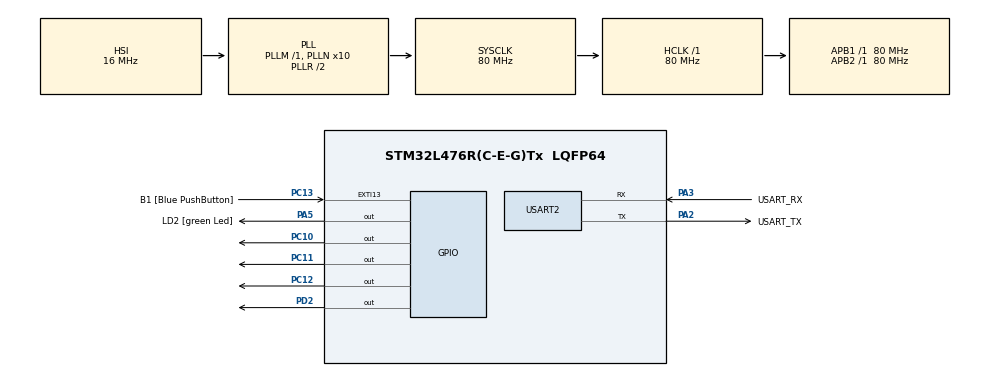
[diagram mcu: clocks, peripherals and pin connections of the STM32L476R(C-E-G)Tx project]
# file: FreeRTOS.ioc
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FREERTOS.Tasks01=defaultTask,8,128,StartDefaultTask,Default,NULL,Dynamic,NULL,NULL;Blink1Task,24,128,Blink1,Default,NULL,Dynamic,NULL,NULL;Blink2Task,30,128,Blink2,Default,NULL,Dynamic,NULL,NULL;TriggTask,40,128,Trigg,Default,NULL,Dynamic,NULL,NULL;UserbuttonTask,40,128,Userbutton,Default,NULL,Dynamic,NULL,NULL
Mcu.Family=STM32L4
Mcu.Name=STM32L476R(C-E-G)Tx
Mcu.Package=LQFP64
NVIC.PriorityGroup=NVIC_PRIORITYGROUP_4
NVIC.TIM1_UP_TIM16_IRQn=true\:0\:0\:false\:false\:true\:false\:false\:true
NVIC.TimeBase=TIM1_UP_TIM16_IRQn
NVIC.TimeBaseIP=TIM1
PA13\ (JTMS-SWDIO).GPIO_Label=TMS
PA13\ (JTMS-SWDIO).Mode=Serial_Wire
PA13\ (JTMS-SWDIO).Signal=SYS_JTMS-SWDIO
PA14\ (JTCK-SWCLK).GPIO_Label=TCK
PA14\ (JTCK-SWCLK).Mode=Serial_Wire
PA14\ (JTCK-SWCLK).Signal=SYS_JTCK-SWCLK
PA2.GPIO_Label=USART_TX
PA2.GPIO_Mode=GPIO_MODE_AF_PP
PA2.GPIO_PuPd=GPIO_NOPULL
PA2.GPIO_Speed=GPIO_SPEED_FREQ_VERY_HIGH
PA2.Mode=Asynchronous
PA2.Signal=USART2_TX
PA3.GPIO_Label=USART_RX
PA3.GPIO_Mode=GPIO_MODE_AF_PP
PA3.GPIO_PuPd=GPIO_NOPULL
PA3.GPIO_Speed=GPIO_SPEED_FREQ_VERY_HIGH
PA3.Mode=Asynchronous
PA3.Signal=USART2_RX
PA5.GPIO_Label=LD2 [green Led]
PA5.GPIO_ModeDefaultOutputPP=GPIO_MODE_OUTPUT_PP
PA5.GPIO_PuPd=GPIO_NOPULL
PA5.GPIO_Speed=GPIO_SPEED_FREQ_LOW
PA5.Signal=GPIO_Output
PB3\ (JTDO-TRACESWO).GPIO_Label=SWO
PB3\ (JTDO-TRACESWO).Signal=SYS_JTDO-SWO
PC10.Signal=GPIO_Output
PC11.Signal=GPIO_Output
PC12.Signal=GPIO_Output
PC13.GPIO_Label=B1 [Blue PushButton]
PC13.GPIO_ModeDefaultEXTI=GPIO_MODE_IT_FALLING
PC13.GPIO_PuPd=GPIO_NOPULL
PC13.Signal=GPXTI13
PC14-OSC32_IN\ (PC14).Mode=LSE-External-Oscillator
PC14-OSC32_IN\ (PC14).Signal=RCC_OSC32_IN
PC15-OSC32_OUT\ (PC15).Mode=LSE-External-Oscillator
PC15-OSC32_OUT\ (PC15).Signal=RCC_OSC32_OUT
PD2.Signal=GPIO_Output
PH0-OSC_IN\ (PH0).Signal=RCC_OSC_IN
PH1-OSC_OUT\ (PH1).Signal=RCC_OSC_OUT
ProjectManager.HeapSize=0x200
ProjectManager.StackSize=0x400
ProjectManager.TargetToolchain=STM32CubeIDE
RCC.ADCFreq_Value=64000000
RCC.AHBFreq_Value=80000000
RCC.APB1Freq_Value=80000000
RCC.APB1TimFreq_Value=80000000
RCC.APB2Freq_Value=80000000
RCC.APB2TimFreq_Value=80000000
RCC.CortexFreq_Value=80000000
RCC.HCLKFreq_Value=80000000
RCC.HSE_VALUE=8000000
RCC.HSI_VALUE=16000000
RCC.MSI_VALUE=4000000
RCC.PLLN=10
RCC.PLLSourceVirtual=RCC_PLLSOURCE_HSI
RCC.PREFETCH_ENABLE=1
RCC.SYSCLKFreq_VALUE=80000000
RCC.SYSCLKSource=RCC_SYSCLKSOURCE_PLLCLK
RCC.USBFreq_Value=64000000
RCC.VCOOutputFreq_Value=160000000
USART2.VirtualMode-Asynchronous=VM_ASYNC
VP_FREERTOS_VS_CMSIS_V2.Mode=CMSIS_V2
VP_SYS_VS_tim1.Mode=TIM1
board=NUCLEO-L476RG

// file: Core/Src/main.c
/* USER CODE BEGIN Header */
/**
  ******************************************************************************
  * @file           : main.c
  * @brief          : Main program body
  ******************************************************************************
  * @attention
  *
  * <h2><center>&copy; Copyright (c) 2019 STMicroelectronics.
  * All rights reserved.</center></h2>
  *
  * This software component is licensed by ST under BSD 3-Clause license,
  * the "License"; You may not use this file except in compliance with the
  * License. You may obtain a copy of the License at:
  *                        opensource.org/licenses/BSD-3-Clause
  *
  ******************************************************************************
  */
/* USER CODE END Header */

#include "main.h"
#include "cmsis_os.h"
#include "usart.h"
#include "gpio.h"

void SystemClock_Config(void);
void MX_FREERTOS_Init(void);

int main(void)
{

  /* MCU Configuration--------------------------------------------------------*/

  /* Reset of all peripherals, Initializes the Flash interface and the Systick. */
  HAL_Init();

  /* Configure the system clock */
  SystemClock_Config();

  /* Initialize all configured peripherals */
  MX_GPIO_Init();
  MX_USART2_UART_Init();

  /* Call init function for freertos objects (in freertos.c) */
  MX_FREERTOS_Init();

  /* Start scheduler */
  osKernelStart();

  /* We should never get here as control is now taken by the scheduler */

  /* Infinite loop */
  while (1)
  {

  }
}

void SystemClock_Config(void)
{
  RCC_OscInitTypeDef RCC_OscInitStruct = {0};
  RCC_ClkInitTypeDef RCC_ClkInitStruct = {0};
  RCC_PeriphCLKInitTypeDef PeriphClkInit = {0};

  /** Initializes the CPU, AHB and APB busses clocks
  */
  RCC_OscInitStruct.OscillatorType = RCC_OSCILLATORTYPE_HSI;
  RCC_OscInitStruct.HSIState = RCC_HSI_ON;
  RCC_OscInitStruct.HSICalibrationValue = RCC_HSICALIBRATION_DEFAULT;
  RCC_OscInitStruct.PLL.PLLState = RCC_PLL_ON;
  RCC_OscInitStruct.PLL.PLLSource = RCC_PLLSOURCE_HSI;
  RCC_OscInitStruct.PLL.PLLM = 1;
  RCC_OscInitStruct.PLL.PLLN = 10;
  RCC_OscInitStruct.PLL.PLLP = RCC_PLLP_DIV7;
  RCC_OscInitStruct.PLL.PLLQ = RCC_PLLQ_DIV2;
  RCC_OscInitStruct.PLL.PLLR = RCC_PLLR_DIV2;
  if (HAL_RCC_OscConfig(&RCC_OscInitStruct) != HAL_OK)
  {
    Error_Handler();
  }
  /** Initializes the CPU, AHB and APB busses clocks
  */
  RCC_ClkInitStruct.ClockType = RCC_CLOCKTYPE_HCLK|RCC_CLOCKTYPE_SYSCLK
                              |RCC_CLOCKTYPE_PCLK1|RCC_CLOCKTYPE_PCLK2;
  RCC_ClkInitStruct.SYSCLKSource = RCC_SYSCLKSOURCE_PLLCLK;
  RCC_ClkInitStruct.AHBCLKDivider = RCC_SYSCLK_DIV1;
  RCC_ClkInitStruct.APB1CLKDivider = RCC_HCLK_DIV1;
  RCC_ClkInitStruct.APB2CLKDivider = RCC_HCLK_DIV1;

  if (HAL_RCC_ClockConfig(&RCC_ClkInitStruct, FLASH_LATENCY_4) != HAL_OK)
  {
    Error_Handler();
  }
  PeriphClkInit.PeriphClockSelection = RCC_PERIPHCLK_USART2;
  PeriphClkInit.Usart2ClockSelection = RCC_USART2CLKSOURCE_PCLK1;
  if (HAL_RCCEx_PeriphCLKConfig(&PeriphClkInit) != HAL_OK)
  {
    Error_Handler();
  }
  /** Configure the main internal regulator output voltage
  */
  if (HAL_PWREx_ControlVoltageScaling(PWR_REGULATOR_VOLTAGE_SCALE1) != HAL_OK)
  {
    Error_Handler();
  }
}

void HAL_TIM_PeriodElapsedCallback(TIM_HandleTypeDef *htim)
{
  if (htim->Instance == TIM1) {
    HAL_IncTick();
  }
}

void Error_Handler(void)
{
}

/************************ (C) COPYRIGHT STMicroelectronics *****END OF FILE****/

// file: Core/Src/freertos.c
/* USER CODE BEGIN Header */
/**
  ******************************************************************************
  * File Name          : freertos.c
  * Description        : Code for freertos applications
  ******************************************************************************
  * @attention
  *
  * <h2><center>&copy; Copyright (c) 2019 STMicroelectronics.
  * All rights reserved.</center></h2>
  *
  * This software component is licensed by ST under Ultimate Liberty license
  * SLA0044, the "License"; You may not use this file except in compliance with
  * the License. You may obtain a copy of the License at:
  *                             www.st.com/SLA0044
  *
  ******************************************************************************
  */
/* USER CODE END Header */

#include "FreeRTOS.h"
#include "task.h"
#include "main.h"
#include "cmsis_os.h"
#include "semphr.h"

osThreadId_t defaultTaskHandle;
osThreadId_t Blink1TaskHandle;
osThreadId_t Blink2TaskHandle;
osThreadId_t TriggTaskHandle;
osThreadId_t UserbuttonTaskHandle;

SemaphoreHandle_t xSemaphore = NULL;

void StartDefaultTask(void *argument);
void Blink1(void *argument);
void Blink2(void *argument);
void Trigg(void *argument);
void Userbutton(void *argument);

void MX_FREERTOS_Init(void); /* (MISRA C 2004 rule 8.1) */

void MX_FREERTOS_Init(void) {
osKernelInitialize();

  /* USER CODE BEGIN RTOS_MUTEX */
  /* add mutexes, ... */
  xSemaphore = xSemaphoreCreateMutex();

  /* USER CODE END RTOS_MUTEX */

  /* Create the thread(s) */
  /* definition and creation of defaultTask */
  const osThreadAttr_t defaultTask_attributes = {
    .name = "defaultTask",
    .priority = (osPriority_t) osPriorityLow,
    .stack_size = 128
  };
  defaultTaskHandle = osThreadNew(StartDefaultTask, NULL, &defaultTask_attributes);

  /* definition and creation of Blink1Task */
  const osThreadAttr_t Blink1Task_attributes = {
    .name = "Blink1Task",
    .priority = (osPriority_t) osPriorityNormal,
    .stack_size = 128
  };
  Blink1TaskHandle = osThreadNew(Blink1, NULL, &Blink1Task_attributes);

  /* definition and creation of Blink2Task */
  const osThreadAttr_t Blink2Task_attributes = {
    .name = "Blink2Task",
    .priority = (osPriority_t) osPriorityNormal6,
    .stack_size = 128
  };
  Blink2TaskHandle = osThreadNew(Blink2, NULL, &Blink2Task_attributes);

  /* definition and creation of TriggTask */
  const osThreadAttr_t TriggTask_attributes = {
    .name = "TriggTask",
    .priority = (osPriority_t) osPriorityHigh,
    .stack_size = 128
  };
  TriggTaskHandle = osThreadNew(Trigg, NULL, &TriggTask_attributes);

  /* definition and creation of UserbuttonTask */
  const osThreadAttr_t UserbuttonTask_attributes = {
    .name = "UserbuttonTask",
    .priority = (osPriority_t) osPriorityHigh,
    .stack_size = 128
  };
  UserbuttonTaskHandle = osThreadNew(Userbutton, NULL, &UserbuttonTask_attributes);

}

void StartDefaultTask(void *argument)
{
  for(;;)
  {
    osDelay(1);
  }
}

void Blink1(void *argument)
{
	/* USER CODE BEGIN Blink1 */

	TickType_t xLastWakeTime;
	const TickType_t xPeriod = pdMS_TO_TICKS(100) ; // ms to ticks
	// Initialise the xLastWakeTime variable with the current time.
	xLastWakeTime = xTaskGetTickCount();

	for(;;) {
	 if( xSemaphore != NULL ) {
		 /* See if the mutex can be obtained. If the mutex is not available
		 wait 10 ticks to see if it becomes free. */
		 if( xSemaphoreTake( xSemaphore, 10 ) == pdTRUE ) {
			 /* The mutex was successfully obtained so the shared resource can be
			 accessed safely. */
			 /* ... */
			 /* Access to the shared resource is complete, so the mutex is
			 returned. */
			 HAL_GPIO_TogglePin(LD2_GPIO_Port, LD2_Pin); // Blink PC10
			 xSemaphoreGive( xSemaphore );
		 } else {
			 /* The mutex could not be obtained even after waiting 10 ticks, so
			 the shared resource cannot be accessed. */
		 }
	 }
	 vTaskDelayUntil( &xLastWakeTime, xPeriod );
	/* Infinite loop */
	/* USER CODE END Blink1 */
	}
}

void Blink2(void *argument)
{
	/* USER CODE BEGIN Blink1 */
	TickType_t xLastWakeTime;
	const TickType_t xPeriod = pdMS_TO_TICKS(20) ; // ms to ticks
	// Initialise the xLastWakeTime variable with the current time.
	xLastWakeTime = xTaskGetTickCount();
	/* Infinite loop */
	for(;;)
	{
	for (varv=1; varv<= antalvarv; varv++){
	HAL_GPIO_TogglePin(GPIOC, GPIO_PIN_10); // Blink PC10
	}
	vTaskDelayUntil( &xLastWakeTime, xPeriod );
	}
	/* USER CODE END Blink1 */
}

void Trigg(void *argument)
{
  /* USER CODE BEGIN Trigg */
	TickType_t xLastWakeTime;
	const TickType_t xPeriod = pdMS_TO_TICKS(10); // ms to ticks
	// Initialise the xLastWakeTime variable with the current time.
	xLastWakeTime = xTaskGetTickCount();
	/* Infinite loop */
	for(;;) {
		HAL_GPIO_TogglePin(GPIOD, GPIO_PIN_2); // Blink PD2
		vTaskDelayUntil( &xLastWakeTime, xPeriod );
	}
  /* USER CODE END Trigg */
}

void Userbutton(void *argument)
{
	/* USER CODE BEGIN Userbutton */
	uint16_t varv,antalvarv=12000;
	TickType_t xLastWakeTime;
	const TickType_t xPeriod = pdMS_TO_TICKS(20);
	// Initialise the xLastWakeTime variable with the current time.
	xLastWakeTime = xTaskGetTickCount();

	/* Infinite loop */

	for( ;; ) {
		/* ... Do other things. */
		if( xSemaphore != NULL ) {
			/* See if the mutex can be obtained. If the mutex is not available
			 wait 10 ticks to see if it becomes free. */
			if( HAL_GPIO_ReadPin(B1_GPIO_Port, B1_Pin)==GPIO_PIN_RESET && HAL_GPIO_ReadPin(LD2_GPIO_Port, LD2_Pin)==GPIO_PIN_RESET) {
				/* The mutex was successfully obtained so the shared resource can be
				 accessed safely. */
				/* ... */
				/* Access to the shared resource is complete, so the mutex is
				 returned. */
				xSemaphoreTake( xSemaphore, 10 );
			} else {
				/* The mutex could not be obtained even after waiting 10 ticks, so
				 the shared resource cannot be accessed. */
				xSemaphoreGive( xSemaphore );
			}
		}
		vTaskDelayUntil( &xLastWakeTime, xPeriod );
	}
	/* USER CODE END Userbutton */
}
  /* USER CODE END Userbutton */

/************************ (C) COPYRIGHT STMicroelectronics *****END OF FILE****/
